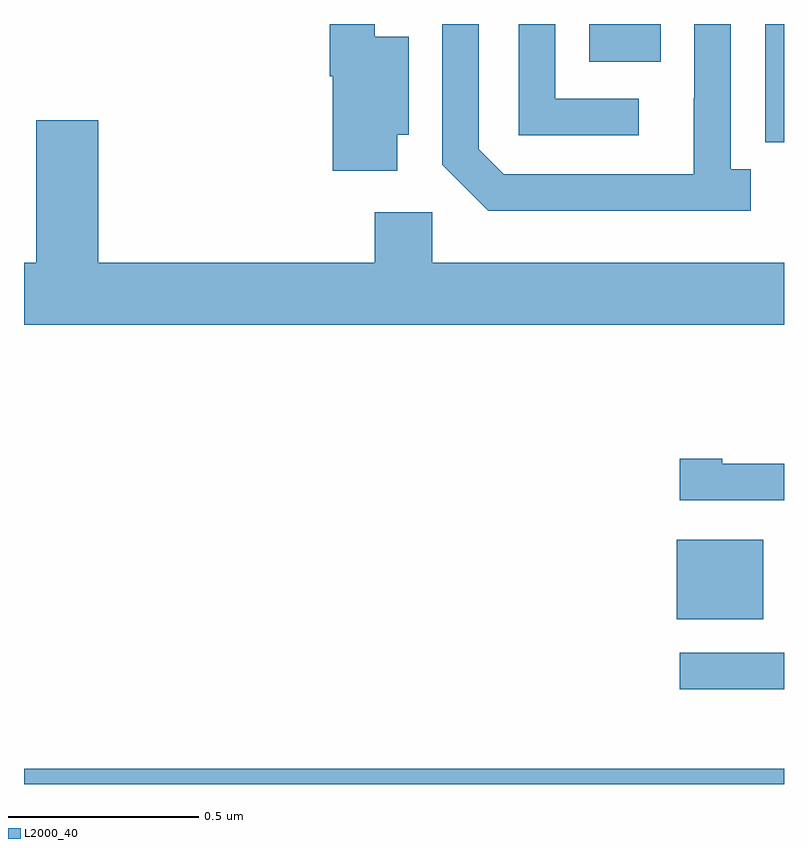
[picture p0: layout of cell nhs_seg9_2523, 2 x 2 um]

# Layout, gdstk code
import gdstk
lib = gdstk.Library(unit=1e-6, precision=1e-09)
def R(c, l, rs):  # rectangles x0, y0, x1, y1
    for r in rs: c.add(gdstk.rectangle(r[:2], r[2:], *l))
def P(c, l, *ps):  # polygons
    for p in ps: c.add(gdstk.Polygon(p, *l))
L2000_40 = (2000, 40)

nhs_seg9_2523 = lib.new_cell('nhs_seg9_2523')
R(nhs_seg9_2523, L2000_40, [(141,1240.5,143,1240.54), (142.725,1240.749,143,1240.845), (142.718,1240.934,142.945,1241.143), (142.487,1242.401,142.675,1242.5)])
P(nhs_seg9_2523, L2000_40, [(143,1242.5),(142.95,1242.5),(142.95,1242.298),(142.951,1242.298),(142.951,1242.189),(143,1242.189)],
  [(141.982,1242.209),(142.012,1242.209),(142.012,1242.466),(141.923,1242.466),(141.923,1242.5),(141.805,1242.5),(141.805,1242.362),(141.812,1242.362),(141.812,1242.114),(141.982,1242.114)],
  [(142.618,1242.303),(142.398,1242.303),(142.398,1242.5),(142.302,1242.5),(142.302,1242.207),(142.618,1242.207)],
  [(142.912,1242.118),(142.86,1242.118),(142.86,1242.5),(142.764,1242.5),(142.764,1242.305),(142.763,1242.305),(142.763,1242.105),(142.263,1242.105),(142.197,1242.171),(142.197,1242.5),(142.101,1242.5),(142.101,1242.129),(142.222,1242.008),(142.912,1242.008)],
  [(143,1241.872),(142.074,1241.872),(142.074,1242.004),(141.923,1242.004),(141.923,1241.872),(141.196,1241.872),(141.196,1242.247),(141.032,1242.247),(141.032,1241.872),(141,1241.872),(141,1241.708),(143,1241.708)],
  [(143,1241.343),(142.837,1241.343),(142.837,1241.356),(142.725,1241.356),(142.725,1241.247),(143,1241.247)])

lib.write_gds('nhs_seg9_2523.gds')
